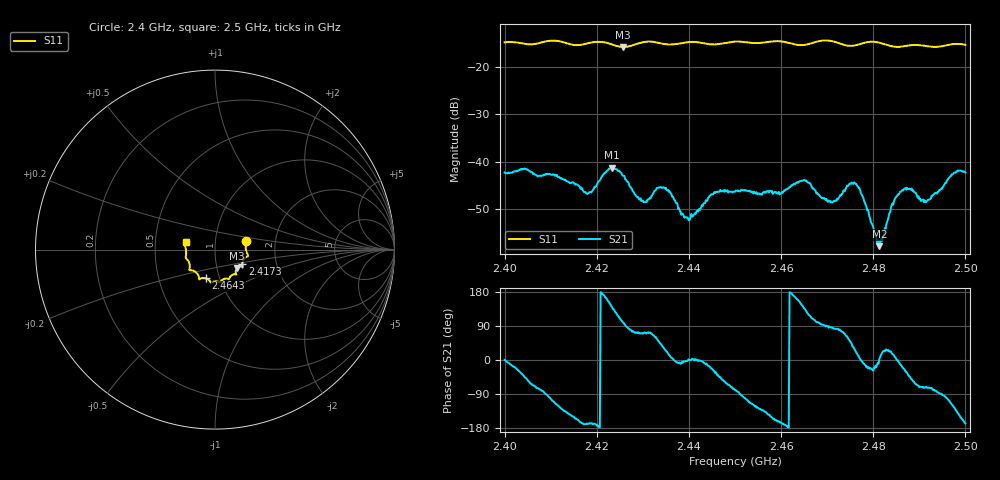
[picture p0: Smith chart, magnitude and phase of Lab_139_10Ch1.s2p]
# Hz S RI R 50
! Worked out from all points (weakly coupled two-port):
!   601 points, 2.4 GHz to 2.5 GHz, reference 50 ohm
!   highest |S21| = -41.28 dB at 2.4233 GHz (marker M1); lowest = -57.8 dB at 2.4813 GHz (marker M2)
!   lowest |S11| = -15.9 dB at 2.4257 GHz (marker M3), VSWR 1.38, Z = 62.5 - j13.1 ohm
!   |S11| at or under -10 dB: start of sweep to end of sweep
!   S12 and S22 are empty: the file has one direction only
!   S11 on the Smith chart (normalised r, x): 2.4 GHz: 1.41, +0.14; 2.4173 GHz: 1.34, -0.23; 2.4643 GHz: 0.86, -0.28; 2.5 GHz: 0.72, +0.06
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2.4e9  0.1729 0.0493  0.00771 2.52e-05  0 0  0 0
2.410833e9  0.184 -0.0357  -0.00276 -0.00662  0 0  0 0
2.416667e9  0.1524 -0.0744  -0.00516 -0.00137  0 0  0 0
2.417333e9  0.1517 -0.0818  -0.0047 -0.000867  0 0  0 0
2.423333e9  0.1431 -0.0936  -0.00654 0.00564  0 0  0 0
2.425667e9  0.1234 -0.1024  -0.00119 0.00703  0 0  0 0
2.430167e9  0.1178 -0.1375  0.00121 0.00355  0 0  0 0
2.433333e9  0.1125 -0.1378  0.00339 0.0041  0 0  0 0
2.4355e9  0.0976 -0.1404  0.00484 0.00142  0 0  0 0
2.439667e9  0.0793 -0.1621  0.00259 -0.000116  0 0  0 0
2.445e9  0.0559 -0.1617  0.00419 -0.00178  0 0  0 0
2.45e9  0.0289 -0.181  0.000909 -0.00476  0 0  0 0
2.459667e9  -0.0239 -0.183  -0.00438 -0.0012  0 0  0 0
2.464333e9  -0.0498 -0.1604  -0.00532 0.00331  0 0  0 0
2.466667e9  -0.0757 -0.1592  -0.00188 0.00512  0 0  0 0
2.471e9  -0.0877 -0.1633  0.000323 0.0038  0 0  0 0
2.476333e9  -0.1199 -0.1177  0.00551 0.00192  0 0  0 0
2.481333e9  -0.1424 -0.107  0.00129 4.92e-05  0 0  0 0
2.483333e9  -0.1405 -0.0896  0.00239 0.00118  0 0  0 0
2.4865e9  -0.152 -0.0589  0.00463 -0.00185  0 0  0 0
2.4915e9  -0.1616 -0.0303  0.00124 -0.00357  0 0  0 0
2.5e9  -0.1637 0.0429  -0.00754 -0.00167  0 0  0 0
